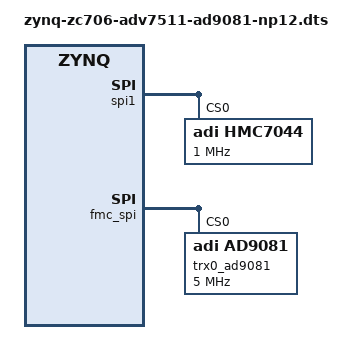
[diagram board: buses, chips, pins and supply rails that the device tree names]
// SPDX-License-Identifier: GPL-2.0
/*
 * Analog Devices AD9081-FMC-EBZ
 * https://wiki.analog.com/resources/tools-software/linux-drivers/iio-mxfe/ad9081
 * https://wiki.analog.com/resources/eval/user-guides/ad9081_fmca_ebz/ad9081_fmca_ebz_hdl
 *
 * hdl_project: <ad9081_fmca_ebz/zc706> Special Synthesis parameters required
 * board_revision: <>
 *
 * Copyright (C) 2019-2021 Analog Devices Inc.
 */

#include "zynq-zc706-adv7511-ad9081.dts"

&spi1 {

	hmc7044: hmc7044@0 {
		#address-cells = <1>;
		#size-cells = <0>;
		#clock-cells = <1>;
		compatible = "adi,hmc7044";
		reg = <0>;
		spi-max-frequency = <1000000>;

		jesd204-device;
		#jesd204-cells = <2>;
		jesd204-sysref-provider;

		adi,jesd204-max-sysref-frequency-hz = <2000000>; /* 2 MHz */

		adi,pll1-clkin-frequencies = <122880000 30720000 0 0>;

		adi,pll1-loop-bandwidth-hz = <200>;

		adi,vcxo-frequency = <122880000>;

		adi,pll2-output-frequency = <3000000000>;

		adi,sysref-timer-divider = <1024>;
		adi,pulse-generator-mode = <0>;

		adi,clkin0-buffer-mode  = <0x07>;
		adi,clkin1-buffer-mode  = <0x07>;
		adi,oscin-buffer-mode = <0x15>;

		adi,gpi-controls = <0x00 0x00 0x00 0x00>;
		adi,gpo-controls = <0x37 0x33 0x00 0x00>;

		clock-output-names =
				"hmc7044_out0", "hmc7044_out1", "hmc7044_out2",
				"hmc7044_out3", "hmc7044_out4", "hmc7044_out5",
				"hmc7044_out6", "hmc7044_out7", "hmc7044_out8",
				"hmc7044_out9", "hmc7044_out10", "hmc7044_out11",
				"hmc7044_out12", "hmc7044_out13";

		hmc7044_c2: channel@2 {
			reg = <2>;
			adi,extended-name = "DEV_REFCLK";
			adi,divider = <12>;	// 250
			adi,driver-mode = <HMC7044_DRIVER_MODE_LVDS>;	// LVDS
		};

		hmc7044_c3: channel@3 {
			reg = <3>;
			adi,extended-name = "DEV_SYSREF";
			adi,divider = <576>;	//
			adi,driver-mode = <HMC7044_DRIVER_MODE_LVDS>;	// LVDS
			adi,jesd204-sysref-chan;
		};

		hmc7044_c6: channel@6 {
			reg = <6>;
			adi,extended-name = "CORE_CLK_TX";
			adi,divider = <18>;	// 166.6
			adi,driver-mode = <HMC7044_DRIVER_MODE_LVDS>;	// LVDS
		};

		hmc7044_c10: channel@10 {
			reg = <10>;
			adi,extended-name = "CORE_CLK_RX";
			adi,divider = <18>;	// 166.6
			adi,driver-mode = <HMC7044_DRIVER_MODE_LVDS>;	// LVDS
		};

		hmc7044_c12: channel@12 {
			reg = <12>;
			adi,extended-name = "FPGA_REFCLK";
			adi,divider = <12>;	// 250  LaneRate/40
			adi,driver-mode = <HMC7044_DRIVER_MODE_LVDS>;	// LVDS
		};

		hmc7044_c13: channel@13 {
			reg = <13>;
			adi,extended-name = "FPGA_SYSREF";
			adi,divider = <576>;	//
			adi,driver-mode = <HMC7044_DRIVER_MODE_LVDS>;	// LVDS
			adi,jesd204-sysref-chan;
		};
	};
};

&fmc_spi {

	trx0_ad9081: ad9081@0 {
		#address-cells = <1>;
		#size-cells = <0>;
		compatible = "adi,ad9081";
		reg = <0>;
		spi-max-frequency = <5000000>;

		/* Clocks */
		clocks = <&hmc7044 2>;
		clock-names = "dev_clk";

		clock-output-names = "rx_sampl_clk", "tx_sampl_clk";
		#clock-cells = <1>;

		jesd204-device;
		#jesd204-cells = <2>;
		jesd204-top-device = <0>; /* This is the TOP device */
		jesd204-link-ids = <FRAMER_LINK0_RX DEFRAMER_LINK0_TX>;

		jesd204-inputs =
			<&axi_ad9081_core_rx 0 FRAMER_LINK0_RX>,
			<&axi_ad9081_core_tx 0 DEFRAMER_LINK0_TX>;

		adi,tx-dacs {
			#size-cells = <0>;
			#address-cells = <1>;

			adi,dac-frequency-hz = /bits/ 64 <6000000000>;

			adi,main-data-paths {
				#address-cells = <1>;
				#size-cells = <0>;

				adi,interpolation = <6>;

				ad9081_dac0: dac@0 {
					reg = <0>;
					adi,crossbar-select = <&ad9081_tx_fddc_chan0>;
					adi,nco-frequency-shift-hz = /bits/ 64 <1000000000>; /* 1000 MHz */
				};
				ad9081_dac1: dac@1 {
					reg = <1>;
					adi,crossbar-select = <&ad9081_tx_fddc_chan1>;
					adi,nco-frequency-shift-hz = /bits/ 64 <1100000000>; /* 1100 MHz */
				};
				ad9081_dac2: dac@2 {
					reg = <2>;
					adi,crossbar-select = <&ad9081_tx_fddc_chan2>; /* All 4 channels @ dac2 */
					adi,nco-frequency-shift-hz = /bits/ 64 <1200000000>;  /* 1200 MHz */
				};
				ad9081_dac3: dac@3 {
					reg = <3>;
					adi,crossbar-select = <&ad9081_tx_fddc_chan3>; /* All 4 channels @ dac2 */
					adi,nco-frequency-shift-hz = /bits/ 64 <1300000000>; /* 1300 MHz */
				};
			};

			adi,channelizer-paths {
				#address-cells = <1>;
				#size-cells = <0>;
				adi,interpolation = <6>;

				ad9081_tx_fddc_chan0: channel@0 {
					reg = <0>;
					adi,gain = <2048>; /* 2048 * 10^(gain_dB/20) */
					adi,nco-frequency-shift-hz =  /bits/ 64 <0>;

				};
				ad9081_tx_fddc_chan1: channel@1 {
					reg = <1>;
					adi,gain = <2048>; /* 2048 * 10^(gain_dB/20) */
					adi,nco-frequency-shift-hz =  /bits/ 64 <0>;

				};
				ad9081_tx_fddc_chan2: channel@2 {
					reg = <2>;
					adi,gain = <2048>; /* 2048 * 10^(gain_dB/20) */
					adi,nco-frequency-shift-hz =  /bits/ 64 <0>;

				};
				ad9081_tx_fddc_chan3: channel@3 {
					reg = <3>;
					adi,gain = <2048>; /* 2048 * 10^(gain_dB/20) */
					adi,nco-frequency-shift-hz =  /bits/ 64 <0>;

				};
			};

			adi,jesd-links {
				#size-cells = <0>;
				#address-cells = <1>;

				ad9081_tx_jesd_l0: link@0 {
					#address-cells = <1>;
					#size-cells = <0>;
					reg = <0>;

					adi,logical-lane-mapping = /bits/ 8 <0 2 7 6 1 5 4 3>;

					adi,link-mode = <4>;			/* JESD Quick Configuration Mode */
					adi,subclass = <1>;			/* JESD SUBCLASS 0,1,2 */
					adi,version = <1>;			/* JESD VERSION 0=204A,1=204B,2=204C */
					adi,dual-link = <0>;			/* JESD Dual Link Mode */

					adi,converters-per-device = <8>;	/* JESD M */
					adi,octets-per-frame = <6>;		/* JESD F */

					adi,frames-per-multiframe = <32>;	/* JESD K */
					adi,converter-resolution = <12>;	/* JESD N */
					adi,bits-per-sample = <12>;		/* JESD NP' */
					adi,control-bits-per-sample = <0>;	/* JESD CS */
					adi,lanes-per-device = <2>;		/* JESD L */
					adi,samples-per-converter-per-frame = <1>; /* JESD S */
					adi,high-density = <1>;			/* JESD HD */
				};
			};
		};

		adi,rx-adcs {
			#size-cells = <0>;
			#address-cells = <1>;

			adi,adc-frequency-hz = /bits/ 64 <2000000000>;

			adi,main-data-paths {
				#address-cells = <1>;
				#size-cells = <0>;


				ad9081_adc0: adc@0 {
					reg = <0>;
					adi,decimation = <4>;
					adi,nco-frequency-shift-hz =  /bits/ 64 <400000000>;
					adi,nco-mode = <AD9081_ADC_NCO_VIF>;
				};
				ad9081_adc1: adc@1 {
					reg = <1>;
					adi,decimation = <4>;
					adi,nco-frequency-shift-hz =  /bits/ 64 <(-400000000)>;
					adi,nco-mode = <AD9081_ADC_NCO_VIF>;
				};
				ad9081_adc2: adc@2 {
					reg = <2>;
					adi,decimation = <4>;
					adi,nco-frequency-shift-hz =  /bits/ 64 <100000000>;
					adi,nco-mode = <AD9081_ADC_NCO_VIF>;
				};
				ad9081_adc3: adc@3 {
					reg = <3>;
					adi,decimation = <4>;
					adi,nco-frequency-shift-hz =  /bits/ 64 <100000000>;
					adi,nco-mode = <AD9081_ADC_NCO_VIF>;
				};
			};

			adi,channelizer-paths {
				#address-cells = <1>;
				#size-cells = <0>;


				ad9081_rx_fddc_chan0: channel@0 {
					reg = <0>;
					adi,decimation = <3>;
					adi,gain = <2048>; /* 2048 * 10^(gain_dB/20) */
					adi,nco-frequency-shift-hz =  /bits/ 64 <0>;

				};
				ad9081_rx_fddc_chan1: channel@1 {
					reg = <1>;
					adi,decimation = <3>;
					adi,gain = <2048>; /* 2048 * 10^(gain_dB/20) */
					adi,nco-frequency-shift-hz =  /bits/ 64 <0>;

				};
				ad9081_rx_fddc_chan4: channel@4 {
					reg = <4>;
					adi,decimation = <3>;
					adi,gain = <2048>; /* 2048 * 10^(gain_dB/20) */
					adi,nco-frequency-shift-hz =  /bits/ 64 <0>;

				};
				ad9081_rx_fddc_chan5: channel@5 {
					reg = <5>;
					adi,decimation = <3>;
					adi,gain = <2048>; /* 2048 * 10^(gain_dB/20) */
					adi,nco-frequency-shift-hz =  /bits/ 64 <0>;

				};
			};

			adi,jesd-links {
				#size-cells = <0>;
				#address-cells = <1>;

				ad9081_rx_jesd_l0: link@0 {
					reg = <0>;
					adi,converter-select =
						<&ad9081_rx_fddc_chan0 FDDC_I>, <&ad9081_rx_fddc_chan0 FDDC_Q>,
						<&ad9081_rx_fddc_chan1 FDDC_I>, <&ad9081_rx_fddc_chan1 FDDC_Q>,
						<&ad9081_rx_fddc_chan4 FDDC_I>, <&ad9081_rx_fddc_chan4 FDDC_Q>,
						<&ad9081_rx_fddc_chan5 FDDC_I>, <&ad9081_rx_fddc_chan5 FDDC_Q>;

					adi,logical-lane-mapping = /bits/ 8 <2 0 7 6 5 4 3 1>;

					adi,link-mode = <5>;			/* JESD Quick Configuration Mode */
					adi,subclass = <1>;			/* JESD SUBCLASS 0,1,2 */
					adi,version = <1>;			/* JESD VERSION 0=204A,1=204B,2=204C */
					adi,dual-link = <0>;			/* JESD Dual Link Mode */

					adi,converters-per-device = <8>;	/* JESD M */
					adi,octets-per-frame = <6>;		/* JESD F */

					adi,frames-per-multiframe = <32>;	/* JESD K */
					adi,converter-resolution = <12>;	/* JESD N */
					adi,bits-per-sample = <12>;		/* JESD NP' */
					adi,control-bits-per-sample = <0>;	/* JESD CS */
					adi,lanes-per-device = <2>;		/* JESD L */
					adi,samples-per-converter-per-frame = <1>; /* JESD S */
					adi,high-density = <1>;			/* JESD HD */
				};
			};
		};
	};
};

&fpga_axi {

		axi_ad9081_rx_jesd: axi-jesd204-rx@44a90000 {
			compatible = "adi,axi-jesd204-rx-1.0";
			reg = <0x44a90000 0x1000>;

			interrupts = <0 55 IRQ_TYPE_LEVEL_HIGH>;

			clocks = <&clkc 16>, <&axi_ad9081_adxcvr_rx 1>, <&axi_ad9081_adxcvr_rx 0>;
			clock-names = "s_axi_aclk", "device_clk", "lane_clk";

			#clock-cells = <0>;
			clock-output-names = "jesd_rx_lane_clk";

			jesd204-device;
			#jesd204-cells = <2>;
			jesd204-inputs = <&axi_ad9081_adxcvr_rx 0 FRAMER_LINK0_RX>;
		};

		axi_ad9081_tx_jesd: axi-jesd204-tx@44b90000 {
			compatible = "adi,axi-jesd204-tx-1.0";
			reg = <0x44b90000 0x1000>;

			interrupts = <0 54 IRQ_TYPE_LEVEL_HIGH>;

			clocks = <&clkc 16>, <&axi_ad9081_adxcvr_tx 1>, <&axi_ad9081_adxcvr_tx 0>;
			clock-names = "s_axi_aclk", "device_clk", "lane_clk";

			#clock-cells = <0>;
			clock-output-names = "jesd_tx_lane_clk";

			jesd204-device;
			#jesd204-cells = <2>;
			jesd204-inputs = <&axi_ad9081_adxcvr_tx 0 DEFRAMER_LINK0_TX>;
		};
};
